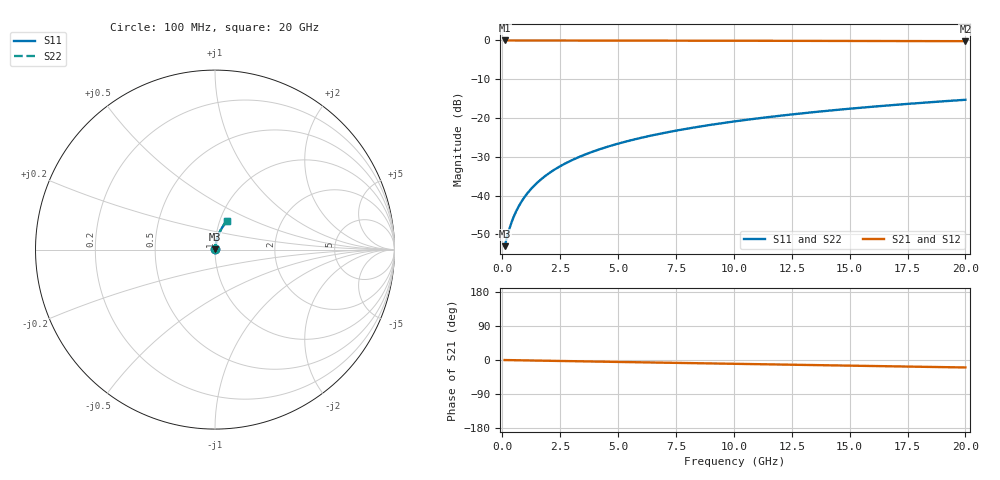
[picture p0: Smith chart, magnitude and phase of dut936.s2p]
! Touchstone file exported from HFSS 2026.1.0
!  File:  C:/ffzhzh/LocalFiles/Ansys_Project_Files/temp_train_BSMRDL_936_1783172016_55132.aedt
!  Generated:  09:34:48 PM Jul  4, 2026
!  Design:  BSMRDL
!  Project:  temp_train_BSMRDL_936_1783172016_55132
! Variables:
!  h_bsmrdl = 5.11um
!  h_ox = 20um
!  h_rdl = 5um
!  h_sub = 80um
!  h_tmrdl = 5um
!  h_tsv = 80um
!  h_via = 3um
!  l_bsmrdl = 297.83um
!  l_sub = 697.83um
!  l_tmrdl = 200um
!  m_sub = 200um
!  pitch = 25.35um
!  r_tsv = 6um
!  s_tmrdl = 10um
!  w_bsmrdl = 10.99um
!  w_sub = 500um
!  w_tmrdl = 12um
!  x_tsv_center1 = 206um
!  x_tsv_center2 = 514.82um
!  x_tsv_center3 = 726.82um
!  x_tsv_center4 = 1035.64um
!  x_tsv_center5 = 1247.64um
!  x_tsv_center6 = 1556.46um
# GHz S MA R 50.000000
! Terminal data exported
! Port[1] = BSM_RDL1_1_T1
! Port[2] = BSM_RDL1_1_T2
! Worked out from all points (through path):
!   200 points, 100 MHz to 20 GHz, reference 50 ohm
!   highest |S21| = -0.02 dB at 100 MHz (marker M1); lowest = -0.2 dB at 20 GHz (marker M2)
!   group delay of S21, straight-line fit = 2.73 ps
!   lowest |S11| = -53.1 dB at 100 MHz (marker M3), VSWR 1.00, Z = 50.2 + j0.104 ohm
!   |S11| at or under -10 dB: start of sweep to end of sweep
!   |S22| runs from -53.1 to -15.3 dB; largest |S21 - S12| = 3.1e-15
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0.1  0.002224 27.7  0.998 -0.1  0.998 -0.1  0.002224 27.7
! Gamma 0 0 0 0
! Port Impedance 50 0 50 0
0.3  0.003673 55.1  0.9979 -0.3  0.9979 -0.3  0.003673 55.1
0.4  0.004518 61.3  0.9979 -0.4  0.9979 -0.4  0.004518 61.3
0.5  0.005388 65.6  0.9978 -0.5  0.9978 -0.5  0.005388 65.6
0.6  0.006274 68.7  0.9978 -0.6  0.9978 -0.6  0.006274 68.7
0.7  0.007172 71.0  0.9977 -0.7  0.9977 -0.7  0.007172 71.0
0.9  0.008993 74.2  0.9976 -0.9  0.9976 -0.9  0.008992 74.2
1.2  0.01176 77.1  0.9975 -1.2  0.9975 -1.2  0.01176 77.1
1.4  0.01362 78.2  0.9975 -1.5  0.9975 -1.5  0.01362 78.2
1.7  0.01642 79.4  0.9973 -1.8  0.9973 -1.8  0.01642 79.4
2.2  0.02108 80.4  0.9971 -2.3  0.9971 -2.3  0.02108 80.4
2.8  0.02664 80.8  0.9967 -2.9  0.9967 -2.9  0.02664 80.8
3.5  0.03308 80.7  0.9962 -3.6  0.9962 -3.6  0.03308 80.7
4.2  0.03945 80.4  0.9956 -4.3  0.9956 -4.3  0.03945 80.4
5  0.04664 80.0  0.9949 -5.1  0.9949 -5.1  0.04664 80.0
5.9  0.05463 79.3  0.9941 -6.0  0.9941 -6.0  0.05463 79.3
6.8  0.06253 78.6  0.9932 -6.9  0.9932 -6.9  0.06253 78.6
8.3  0.07552 77.4  0.9917 -8.4  0.9917 -8.4  0.07552 77.4
10.1  0.09088 75.9  0.9897 -10.2  0.9897 -10.2  0.09088 76.0
13.4  0.1185 73.2  0.9858 -13.4  0.9858 -13.4  0.1185 73.2
16.7  0.1454 70.3  0.9814 -16.6  0.9814 -16.6  0.1454 70.3
20  0.1715 67.4  0.9765 -19.7  0.9765 -19.7  0.1715 67.4
